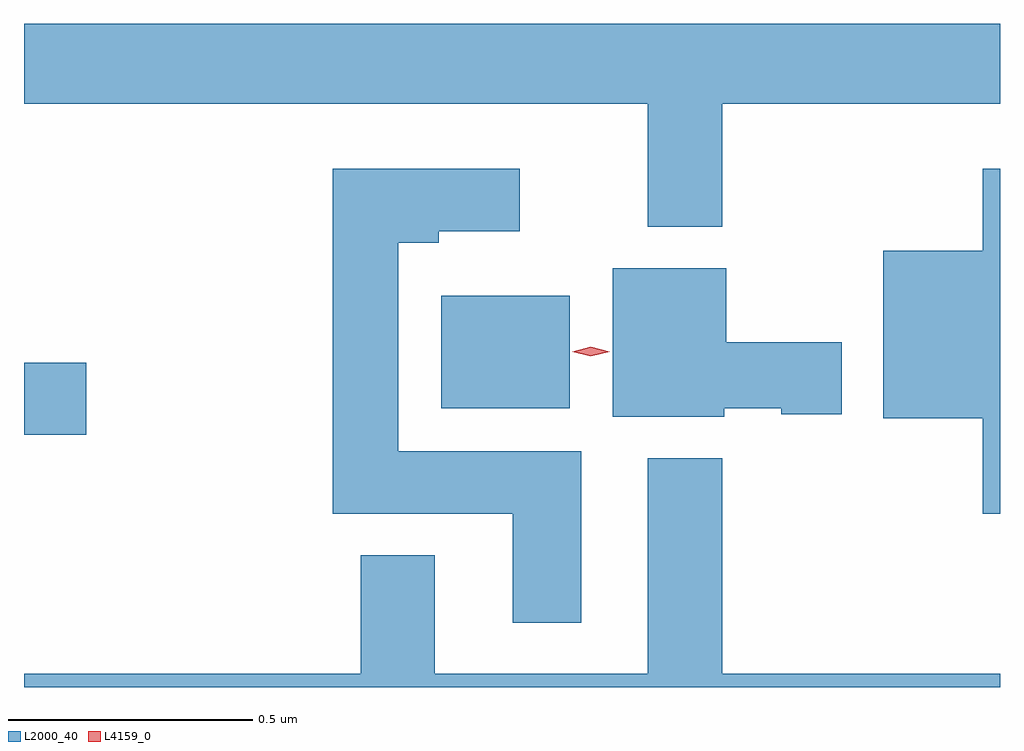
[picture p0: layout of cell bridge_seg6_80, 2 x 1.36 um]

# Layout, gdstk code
import gdstk
lib = gdstk.Library(unit=1e-6, precision=1e-09)
def R(c, l, rs):  # rectangles x0, y0, x1, y1
    for r in rs: c.add(gdstk.rectangle(r[:2], r[2:], *l))
def P(c, l, *ps):  # polygons
    for p in ps: c.add(gdstk.Polygon(p, *l))
L2000_40 = (2000, 40)
L4159_0 = (4159, 0)

bridge_seg6_80 = lib.new_cell('bridge_seg6_80')
R(bridge_seg6_80, L2000_40, [(757.901,936.002,758.029,936.149), (758.756,936.056,759.019,936.286)])
P(bridge_seg6_80, L2000_40, [(759.332,936.68),(759.901,936.68),(759.901,936.844),(757.901,936.844),(757.901,936.68),(759.179,936.68),(759.179,936.428),(759.332,936.428)],
  [(759.901,936.547),(759.866,936.547),(759.866,936.379),(759.662,936.379),(759.662,936.035),(759.866,936.035),(759.866,935.84),(759.901,935.84)],
  [(759.043,935.968),(758.668,935.968),(758.668,936.395),(758.751,936.395),(758.751,936.419),(758.917,936.419),(758.917,936.547),(758.534,936.547),(758.534,935.84),(758.903,935.84),(758.903,935.616),(759.043,935.616)],
  [(759.336,936.056),(759.453,936.056),(759.453,936.044),(759.577,936.044),(759.577,936.191),(759.34,936.191),(759.34,936.343),(759.107,936.343),(759.107,936.038),(759.336,936.038)],
  [(759.901,935.512),(759.332,935.512),(759.332,935.953),(759.179,935.953),(759.179,935.512),(758.743,935.512),(758.743,935.755),(758.591,935.755),(758.591,935.512),(757.901,935.512),(757.901,935.484),(759.901,935.484)])
P(bridge_seg6_80, L4159_0, [(759.062,936.162),(759.024,936.172),(759.024,936.172),(759.024,936.172),(759.062,936.182),(759.101,936.172),(759.101,936.172),(759.101,936.172)])

lib.write_gds('bridge_seg6_80.gds')
